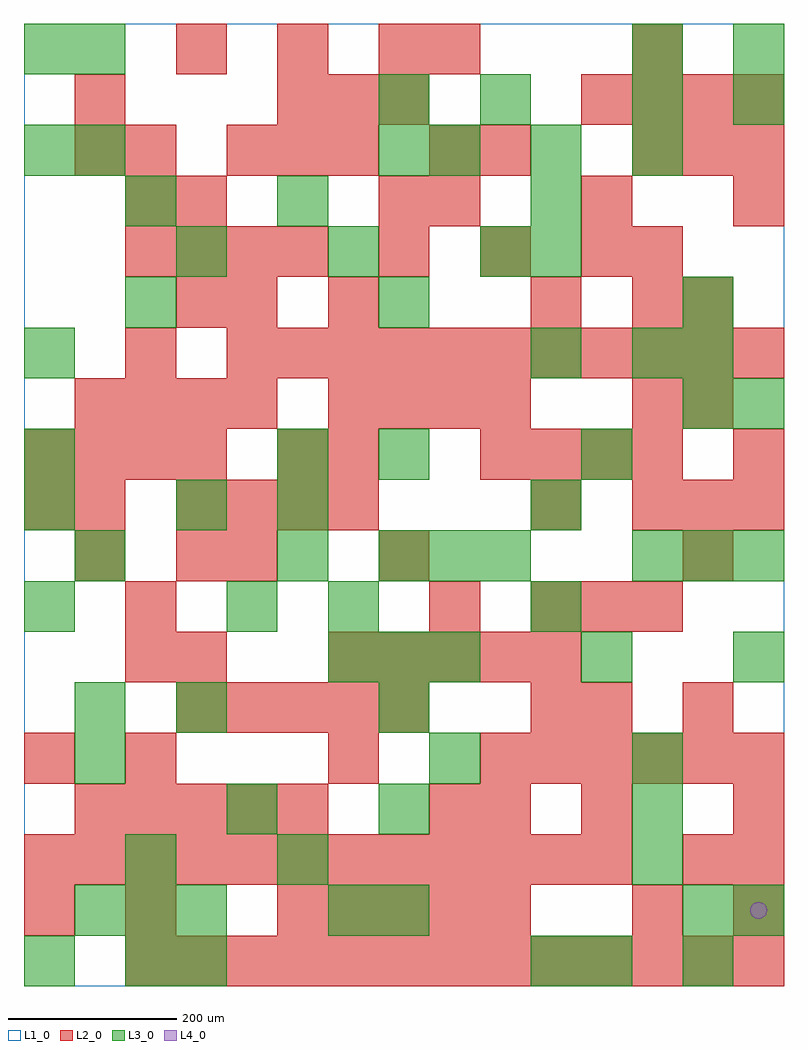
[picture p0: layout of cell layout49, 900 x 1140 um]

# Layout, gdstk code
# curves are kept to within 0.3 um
import gdstk
lib = gdstk.Library(unit=1e-6, precision=1e-09)
def R(c, l, rs):  # rectangles x0, y0, x1, y1
    for r in rs: c.add(gdstk.rectangle(r[:2], r[2:], *l))
def A(c, l, x, y, w, h, nx, ny, dx, dy):  # array of equal rectangles
    R(c, l, [(x+i*dx, y+j*dy, x+i*dx+w, y+j*dy+h) for i in range(nx) for j in range(ny)])
def P(c, l, *ps):  # polygons
    for p in ps: c.add(gdstk.Polygon(p, *l))
L1_0 = (1, 0)
L2_0 = (2, 0)
L3_0 = (3, 0)
L4_0 = (4, 0)

layout49 = lib.new_cell('layout49')
R(layout49, L1_0, [(0,0,900,1140)])
A(layout49, L2_0, 120, 0, 60, 60, 13, 1, 60, 0)
A(layout49, L2_0, 300, 60, 60, 60, 5, 1, 60, 0)
A(layout49, L2_0, 840, 60, 60, 60, 1, 3, 0, 60)
A(layout49, L2_0, 0, 120, 60, 60, 12, 1, 60, 0)
A(layout49, L2_0, 780, 120, 60, 60, 1, 4, 0, 180)
A(layout49, L2_0, 60, 180, 60, 60, 5, 1, 60, 0)
A(layout49, L2_0, 540, 240, 60, 60, 6, 1, 60, 0)
A(layout49, L2_0, 180, 300, 60, 60, 5, 1, 60, 0)
A(layout49, L2_0, 600, 300, 60, 60, 1, 3, 0, 240)
A(layout49, L2_0, 360, 360, 60, 60, 5, 1, 60, 0)
A(layout49, L2_0, 600, 420, 60, 60, 3, 1, 60, 0)
A(layout49, L2_0, 180, 540, 60, 60, 4, 1, 60, 0)
A(layout49, L2_0, 720, 540, 60, 60, 3, 2, 60, 420)
A(layout49, L2_0, 0, 600, 60, 60, 4, 1, 60, 0)
A(layout49, L2_0, 540, 600, 60, 60, 4, 1, 60, 0)
A(layout49, L2_0, 60, 660, 60, 60, 4, 1, 60, 0)
A(layout49, L2_0, 360, 660, 60, 60, 4, 1, 60, 0)
A(layout49, L2_0, 240, 720, 60, 60, 11, 1, 60, 0)
A(layout49, L2_0, 120, 840, 60, 60, 4, 1, 60, 0)
A(layout49, L2_0, 420, 840, 60, 60, 3, 1, 120, 0)
A(layout49, L2_0, 480, 900, 60, 60, 3, 1, 180, 0)
A(layout49, L2_0, 240, 960, 60, 60, 3, 1, 60, 0)
A(layout49, L2_0, 300, 1020, 60, 60, 3, 1, 60, 0)
A(layout49, L2_0, 660, 1020, 60, 60, 4, 1, 60, 0)
A(layout49, L2_0, 180, 1080, 60, 60, 3, 1, 120, 0)
R(layout49, L2_0, [(0,60,60,120), (120,60,180,120), (720,60,780,120), (480,180,540,240), (540,180,600,240), (660,180,720,240), (0,240,60,300), (120,240,180,300), (360,240,420,300), (660,300,720,360), (120,360,180,420), (180,360,240,420), (120,420,180,480), (480,420,540,480), (60,480,120,540), (180,480,240,540), (240,480,300,540), (420,480,480,540), (0,540,60,600), (60,540,120,600), (300,600,360,660), (360,600,420,660), (840,600,900,660), (720,660,780,720), (120,720,180,780), (180,780,240,840), (240,780,300,840), (360,780,420,840), (720,780,780,840), (780,780,840,840), (720,840,780,900), (120,900,180,960), (180,900,240,960), (420,900,480,960), (60,960,120,1020), (120,960,180,1020), (480,960,540,1020), (540,960,600,1020), (60,1020,120,1080), (480,1080,540,1140), (720,1080,780,1140)])
A(layout49, L3_0, 60, 60, 60, 60, 3, 1, 60, 0)
A(layout49, L3_0, 420, 60, 60, 60, 1, 3, 0, 120)
A(layout49, L3_0, 840, 60, 60, 60, 1, 3, 0, 300)
A(layout49, L3_0, 720, 120, 60, 60, 1, 3, 0, 60)
A(layout49, L3_0, 360, 360, 60, 60, 3, 1, 60, 0)
A(layout49, L3_0, 300, 480, 60, 60, 1, 3, 0, 60)
A(layout49, L3_0, 420, 480, 60, 60, 3, 1, 60, 0)
A(layout49, L3_0, 720, 480, 60, 60, 3, 1, 60, 0)
A(layout49, L3_0, 420, 600, 60, 60, 1, 3, 0, 180)
A(layout49, L3_0, 780, 660, 60, 60, 1, 3, 0, 60)
A(layout49, L3_0, 180, 840, 60, 60, 3, 1, 180, 0)
A(layout49, L3_0, 480, 960, 60, 60, 3, 1, 120, 0)
R(layout49, L3_0, [(0,0,60,60), (120,0,180,60), (180,0,240,60), (600,0,660,60), (660,0,720,60), (780,0,840,60), (360,60,420,120), (780,60,840,120), (120,120,180,180), (300,120,360,180), (240,180,300,240), (60,240,120,300), (480,240,540,300), (60,300,120,360), (180,300,240,360), (660,360,720,420), (0,420,60,480), (240,420,300,480), (360,420,420,480), (600,420,660,480), (60,480,120,540), (0,540,60,600), (180,540,240,600), (600,540,660,600), (0,600,60,660), (660,600,720,660), (0,720,60,780), (600,720,660,780), (720,720,780,780), (120,780,180,840), (600,840,660,900), (120,900,180,960), (300,900,360,960), (600,900,660,960), (0,960,60,1020), (60,960,120,1020), (420,1020,480,1080), (540,1020,600,1080), (720,1020,780,1080), (840,1020,900,1080), (0,1080,60,1140), (60,1080,120,1140), (720,1080,780,1140), (840,1080,900,1140)])
P(layout49, L4_0, [(880,90),(879.239,93.827),(877.071,97.071),(873.827,99.239),(870,100),(866.173,99.239),(862.929,97.071),(860.761,93.827),(860,90),(860.761,86.173),(862.929,82.929),(866.173,80.761),(870,80),(873.827,80.761),(877.071,82.929),(879.239,86.173)])

lib.write_gds('layout49.gds')
